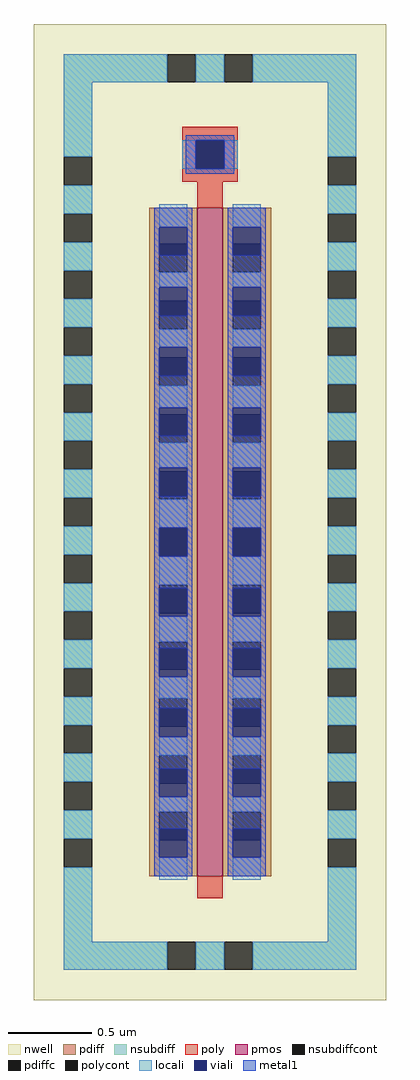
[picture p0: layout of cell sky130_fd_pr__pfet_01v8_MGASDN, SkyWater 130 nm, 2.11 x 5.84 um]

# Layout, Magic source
magic
tech sky130A
magscale 1 2
<< nwell >>
rect -211 -584 211 584
<< pmos >>
rect -15 -436 15 364
<< pdiff >>
rect -73 321 -15 364
rect -73 287 -61 321
rect -27 287 -15 321
rect -73 253 -15 287
rect -73 219 -61 253
rect -27 219 -15 253
rect -73 185 -15 219
rect -73 151 -61 185
rect -27 151 -15 185
rect -73 117 -15 151
rect -73 83 -61 117
rect -27 83 -15 117
rect -73 49 -15 83
rect -73 15 -61 49
rect -27 15 -15 49
rect -73 -19 -15 15
rect -73 -53 -61 -19
rect -27 -53 -15 -19
rect -73 -87 -15 -53
rect -73 -121 -61 -87
rect -27 -121 -15 -87
rect -73 -155 -15 -121
rect -73 -189 -61 -155
rect -27 -189 -15 -155
rect -73 -223 -15 -189
rect -73 -257 -61 -223
rect -27 -257 -15 -223
rect -73 -291 -15 -257
rect -73 -325 -61 -291
rect -27 -325 -15 -291
rect -73 -359 -15 -325
rect -73 -393 -61 -359
rect -27 -393 -15 -359
rect -73 -436 -15 -393
rect 15 321 73 364
rect 15 287 27 321
rect 61 287 73 321
rect 15 253 73 287
rect 15 219 27 253
rect 61 219 73 253
rect 15 185 73 219
rect 15 151 27 185
rect 61 151 73 185
rect 15 117 73 151
rect 15 83 27 117
rect 61 83 73 117
rect 15 49 73 83
rect 15 15 27 49
rect 61 15 73 49
rect 15 -19 73 15
rect 15 -53 27 -19
rect 61 -53 73 -19
rect 15 -87 73 -53
rect 15 -121 27 -87
rect 61 -121 73 -87
rect 15 -155 73 -121
rect 15 -189 27 -155
rect 61 -189 73 -155
rect 15 -223 73 -189
rect 15 -257 27 -223
rect 61 -257 73 -223
rect 15 -291 73 -257
rect 15 -325 27 -291
rect 61 -325 73 -291
rect 15 -359 73 -325
rect 15 -393 27 -359
rect 61 -393 73 -359
rect 15 -436 73 -393
<< pdiffc >>
rect -61 287 -27 321
rect -61 219 -27 253
rect -61 151 -27 185
rect -61 83 -27 117
rect -61 15 -27 49
rect -61 -53 -27 -19
rect -61 -121 -27 -87
rect -61 -189 -27 -155
rect -61 -257 -27 -223
rect -61 -325 -27 -291
rect -61 -393 -27 -359
rect 27 287 61 321
rect 27 219 61 253
rect 27 151 61 185
rect 27 83 61 117
rect 27 15 61 49
rect 27 -53 61 -19
rect 27 -121 61 -87
rect 27 -189 61 -155
rect 27 -257 61 -223
rect 27 -325 61 -291
rect 27 -393 61 -359
<< nsubdiff >>
rect -175 514 -51 548
rect -17 514 17 548
rect 51 514 175 548
rect -175 425 -141 514
rect 141 425 175 514
rect -175 357 -141 391
rect -175 289 -141 323
rect -175 221 -141 255
rect -175 153 -141 187
rect -175 85 -141 119
rect -175 17 -141 51
rect -175 -51 -141 -17
rect -175 -119 -141 -85
rect -175 -187 -141 -153
rect -175 -255 -141 -221
rect -175 -323 -141 -289
rect -175 -391 -141 -357
rect -175 -514 -141 -425
rect 141 357 175 391
rect 141 289 175 323
rect 141 221 175 255
rect 141 153 175 187
rect 141 85 175 119
rect 141 17 175 51
rect 141 -51 175 -17
rect 141 -119 175 -85
rect 141 -187 175 -153
rect 141 -255 175 -221
rect 141 -323 175 -289
rect 141 -391 175 -357
rect 141 -514 175 -425
rect -175 -548 -51 -514
rect -17 -548 17 -514
rect 51 -548 175 -514
<< nsubdiffcont >>
rect -51 514 -17 548
rect 17 514 51 548
rect -175 391 -141 425
rect 141 391 175 425
rect -175 323 -141 357
rect -175 255 -141 289
rect -175 187 -141 221
rect -175 119 -141 153
rect -175 51 -141 85
rect -175 -17 -141 17
rect -175 -85 -141 -51
rect -175 -153 -141 -119
rect -175 -221 -141 -187
rect -175 -289 -141 -255
rect -175 -357 -141 -323
rect -175 -425 -141 -391
rect 141 323 175 357
rect 141 255 175 289
rect 141 187 175 221
rect 141 119 175 153
rect 141 51 175 85
rect 141 -17 175 17
rect 141 -85 175 -51
rect 141 -153 175 -119
rect 141 -221 175 -187
rect 141 -289 175 -255
rect 141 -357 175 -323
rect 141 -425 175 -391
rect -51 -548 -17 -514
rect 17 -548 51 -514
<< poly >>
rect -33 445 33 461
rect -33 411 -17 445
rect 17 411 33 445
rect -33 395 33 411
rect -15 364 15 395
rect -15 -462 15 -436
<< polycont >>
rect -17 411 17 445
<< locali >>
rect -175 514 -51 548
rect -17 514 17 548
rect 51 514 175 548
rect -175 425 -141 514
rect -33 411 -17 445
rect 17 411 33 445
rect 141 425 175 514
rect -175 357 -141 391
rect -175 289 -141 323
rect -175 221 -141 255
rect -175 153 -141 187
rect -175 85 -141 119
rect -175 17 -141 51
rect -175 -51 -141 -17
rect -175 -119 -141 -85
rect -175 -187 -141 -153
rect -175 -255 -141 -221
rect -175 -323 -141 -289
rect -175 -391 -141 -357
rect -175 -514 -141 -425
rect -61 341 -27 368
rect -61 269 -27 287
rect -61 197 -27 219
rect -61 125 -27 151
rect -61 53 -27 83
rect -61 -19 -27 15
rect -61 -87 -27 -53
rect -61 -155 -27 -125
rect -61 -223 -27 -197
rect -61 -291 -27 -269
rect -61 -359 -27 -341
rect -61 -440 -27 -413
rect 27 341 61 368
rect 27 269 61 287
rect 27 197 61 219
rect 27 125 61 151
rect 27 53 61 83
rect 27 -19 61 15
rect 27 -87 61 -53
rect 27 -155 61 -125
rect 27 -223 61 -197
rect 27 -291 61 -269
rect 27 -359 61 -341
rect 27 -440 61 -413
rect 141 357 175 391
rect 141 289 175 323
rect 141 221 175 255
rect 141 153 175 187
rect 141 85 175 119
rect 141 17 175 51
rect 141 -51 175 -17
rect 141 -119 175 -85
rect 141 -187 175 -153
rect 141 -255 175 -221
rect 141 -323 175 -289
rect 141 -391 175 -357
rect 141 -514 175 -425
rect -175 -548 -51 -514
rect -17 -548 17 -514
rect 51 -548 175 -514
<< viali >>
rect -17 411 17 445
rect -61 321 -27 341
rect -61 307 -27 321
rect -61 253 -27 269
rect -61 235 -27 253
rect -61 185 -27 197
rect -61 163 -27 185
rect -61 117 -27 125
rect -61 91 -27 117
rect -61 49 -27 53
rect -61 19 -27 49
rect -61 -53 -27 -19
rect -61 -121 -27 -91
rect -61 -125 -27 -121
rect -61 -189 -27 -163
rect -61 -197 -27 -189
rect -61 -257 -27 -235
rect -61 -269 -27 -257
rect -61 -325 -27 -307
rect -61 -341 -27 -325
rect -61 -393 -27 -379
rect -61 -413 -27 -393
rect 27 321 61 341
rect 27 307 61 321
rect 27 253 61 269
rect 27 235 61 253
rect 27 185 61 197
rect 27 163 61 185
rect 27 117 61 125
rect 27 91 61 117
rect 27 49 61 53
rect 27 19 61 49
rect 27 -53 61 -19
rect 27 -121 61 -91
rect 27 -125 61 -121
rect 27 -189 61 -163
rect 27 -197 61 -189
rect 27 -257 61 -235
rect 27 -269 61 -257
rect 27 -325 61 -307
rect 27 -341 61 -325
rect 27 -393 61 -379
rect 27 -413 61 -393
<< metal1 >>
rect -29 445 29 451
rect -29 411 -17 445
rect 17 411 29 445
rect -29 405 29 411
rect -67 341 -21 364
rect -67 307 -61 341
rect -27 307 -21 341
rect -67 269 -21 307
rect -67 235 -61 269
rect -27 235 -21 269
rect -67 197 -21 235
rect -67 163 -61 197
rect -27 163 -21 197
rect -67 125 -21 163
rect -67 91 -61 125
rect -27 91 -21 125
rect -67 53 -21 91
rect -67 19 -61 53
rect -27 19 -21 53
rect -67 -19 -21 19
rect -67 -53 -61 -19
rect -27 -53 -21 -19
rect -67 -91 -21 -53
rect -67 -125 -61 -91
rect -27 -125 -21 -91
rect -67 -163 -21 -125
rect -67 -197 -61 -163
rect -27 -197 -21 -163
rect -67 -235 -21 -197
rect -67 -269 -61 -235
rect -27 -269 -21 -235
rect -67 -307 -21 -269
rect -67 -341 -61 -307
rect -27 -341 -21 -307
rect -67 -379 -21 -341
rect -67 -413 -61 -379
rect -27 -413 -21 -379
rect -67 -436 -21 -413
rect 21 341 67 364
rect 21 307 27 341
rect 61 307 67 341
rect 21 269 67 307
rect 21 235 27 269
rect 61 235 67 269
rect 21 197 67 235
rect 21 163 27 197
rect 61 163 67 197
rect 21 125 67 163
rect 21 91 27 125
rect 61 91 67 125
rect 21 53 67 91
rect 21 19 27 53
rect 61 19 67 53
rect 21 -19 67 19
rect 21 -53 27 -19
rect 61 -53 67 -19
rect 21 -91 67 -53
rect 21 -125 27 -91
rect 61 -125 67 -91
rect 21 -163 67 -125
rect 21 -197 27 -163
rect 61 -197 67 -163
rect 21 -235 67 -197
rect 21 -269 27 -235
rect 61 -269 67 -235
rect 21 -307 67 -269
rect 21 -341 27 -307
rect 61 -341 67 -307
rect 21 -379 67 -341
rect 21 -413 27 -379
rect 61 -413 67 -379
rect 21 -436 67 -413
<< properties >>
string FIXED_BBOX -158 -531 158 531
<< end >>
